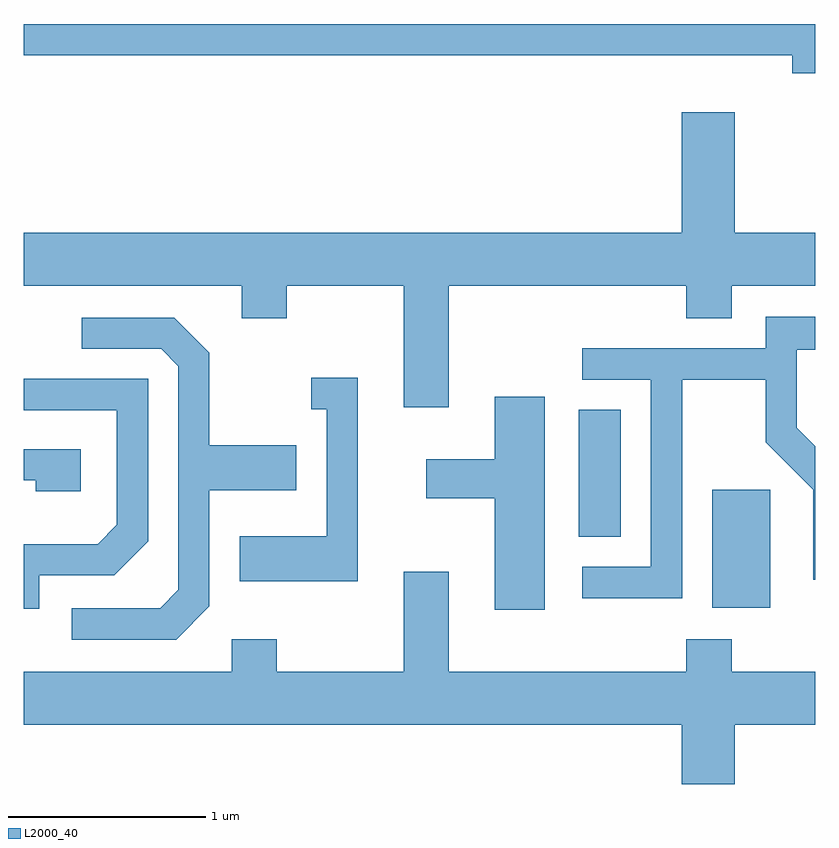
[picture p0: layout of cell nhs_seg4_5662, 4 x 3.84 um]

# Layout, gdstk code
import gdstk
lib = gdstk.Library(unit=1e-6, precision=1e-09)
def R(c, l, rs):  # rectangles x0, y0, x1, y1
    for r in rs: c.add(gdstk.rectangle(r[:2], r[2:], *l))
def P(c, l, *ps):  # polygons
    for p in ps: c.add(gdstk.Polygon(p, *l))
L2000_40 = (2000, 40)

nhs_seg4_5662 = lib.new_cell('nhs_seg4_5662')
R(nhs_seg4_5662, L2000_40, [(355.091,1290.886,355.384,1291.484), (354.416,1291.246,354.629,1291.889)])
P(nhs_seg4_5662, L2000_40, [(355.611,1293.839),(351.611,1293.839),(351.611,1293.681),(355.496,1293.681),(355.496,1293.591),(355.611,1293.591)],
  [(354.936,1293.394),(354.936,1292.784),(351.611,1292.784),(351.611,1292.516),(352.711,1292.516),(352.711,1292.351),(352.939,1292.351),(352.939,1292.516),(353.531,1292.516),(353.531,1291.901),(353.759,1291.901),(353.759,1292.516),(354.961,1292.516),(354.961,1292.351),(355.189,1292.351),(355.189,1292.516),(355.611,1292.516),(355.611,1292.784),(355.204,1292.784),(355.204,1293.394)],
  [(354.939,1292.041),(355.361,1292.041),(355.361,1291.724),(355.601,1291.484),(355.601,1291.028),(355.611,1291.028),(355.611,1291.705),(355.519,1291.797),(355.519,1292.191),(355.611,1292.191),(355.611,1292.359),(355.361,1292.359),(355.361,1292.199),(354.433,1292.199),(354.433,1292.041),(354.781,1292.041),(354.781,1291.094),(354.433,1291.094),(354.433,1290.936),(354.939,1290.936)],
  [(352.549,1290.894),(352.549,1291.481),(352.989,1291.481),(352.989,1291.709),(352.549,1291.709),(352.549,1292.177),(352.372,1292.354),(351.903,1292.354),(351.903,1292.196),(352.304,1292.196),(352.391,1292.109),(352.391,1290.977),(352.299,1290.884),(351.853,1290.884),(351.853,1290.726),(352.382,1290.726)],
  [(353.299,1292.049),(353.063,1292.049),(353.063,1291.891),(353.141,1291.891),(353.141,1291.249),(352.701,1291.249),(352.701,1291.021),(353.299,1291.021)],
  [(351.689,1291.051),(352.067,1291.051),(352.239,1291.224),(352.239,1292.044),(351.611,1292.044),(351.611,1291.886),(352.081,1291.886),(352.081,1291.307),(351.984,1291.209),(351.611,1291.209),(351.611,1290.881),(351.689,1290.881)],
  [(354.244,1291.954),(353.991,1291.954),(353.991,1291.639),(353.646,1291.639),(353.646,1291.441),(353.991,1291.441),(353.991,1290.876),(354.244,1290.876)],
  [(351.899,1291.689),(351.611,1291.689),(351.611,1291.531),(351.671,1291.531),(351.671,1291.476),(351.899,1291.476)],
  [(355.204,1290.296),(355.611,1290.296),(355.611,1290.564),(355.189,1290.564),(355.189,1290.729),(354.961,1290.729),(354.961,1290.564),(353.759,1290.564),(353.759,1291.069),(353.531,1291.069),(353.531,1290.564),(352.889,1290.564),(352.889,1290.729),(352.661,1290.729),(352.661,1290.564),(351.611,1290.564),(351.611,1290.296),(354.936,1290.296),(354.936,1289.996),(355.204,1289.996)])

lib.write_gds('nhs_seg4_5662.gds')
